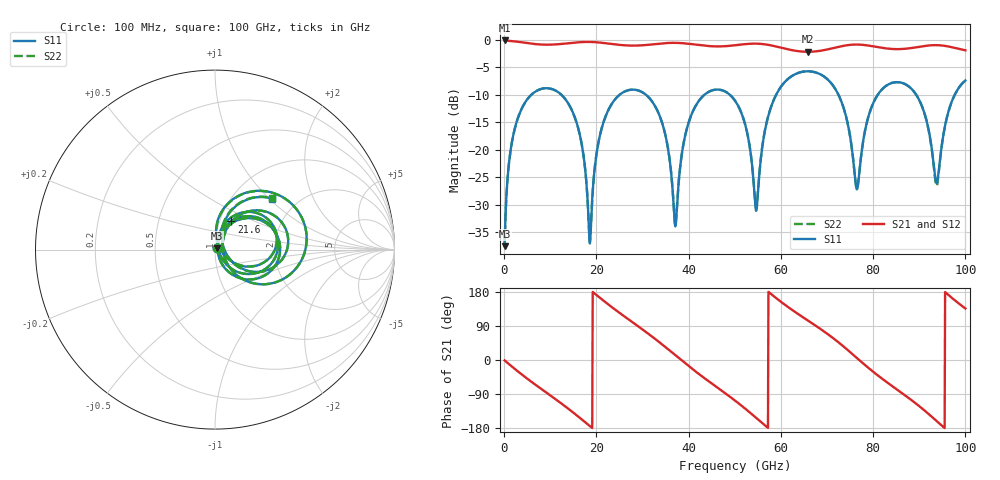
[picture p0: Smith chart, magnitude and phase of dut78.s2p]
! Touchstone file exported from HFSS 2026.1.0
!  File:  C:/ffzhzh/LocalFiles/Ansys_Project_Files/temp_train_TSV_RDL_78_1783628626_29156.aedt
!  Generated:  04:32:02 AM Jul 10, 2026
!  Design:  TSV_RDL
!  Project:  temp_train_TSV_RDL_78_1783628626_29156
! Variables:
!  h_bsmrdl = 4.17um
!  h_ox = 20um
!  h_rdl = 5um
!  h_sub = 95.19um
!  h_tmrdl = 4.6um
!  h_tsv = 95.19um
!  h_via = 3um
!  l_bsmrdl = 362.73um
!  l_sub = 2981.49um
!  l_tmrdl = 335.12um
!  m_sub = 200um
!  pitch = 42.84um
!  r_tsv = 6.83um
!  s_tmrdl = 10um
!  w_bsmrdl = 26.88um
!  w_sub = 500um
!  w_tmrdl = 24.06um
!  x_tsv_center1 = 347.15um
!  x_tsv_center2 = 736.76um
!  x_tsv_center3 = 1095.94um
!  x_tsv_center4 = 1485.55um
!  x_tsv_center5 = 1844.73um
!  x_tsv_center6 = 2234.34um
# GHz S MA R 50.000000
! Terminal data exported
! Port[1] = TM_RDL1_1_T1
! Port[2] = TM_RDL5_1_T1
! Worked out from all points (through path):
!   1000 points, 100 MHz to 100 GHz, reference 50 ohm
!   highest |S21| = -0.09 dB at 100 MHz (marker M1); lowest = -2.2 dB at 65.8 GHz (marker M2)
!   group delay of S21, straight-line fit = 26 ps
!   lowest |S11| = -37.6 dB at 100 MHz (marker M3), VSWR 1.03, Z = 51.1 + j0.809 ohm
!   |S11| at or under -10 dB: 12.42 GHz to 25.02 GHz (12.6 GHz wide, 67.3 % of centre); 30.76 GHz to 43.41 GHz (12.65 GHz wide, 34.1 % of centre); 48.94 GHz to 58.96 GHz (10.02 GHz wide, 18.6 % of centre) (the widest 3 of 6)
!   |S22| runs from -37.6 to -5.7 dB; largest |S21 - S12| = 2e-14
!   S11 on the Smith chart (normalised r, x): 100 MHz: 1.02, +0.02; 21.6 GHz: 1.14, +0.37; 100 GHz: 1.50, +1.05
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0.1  0.01321 36.8  0.9896 -1.1  0.9896 -1.1  0.01321 36.8
! Gamma 0 0 0 0
! Port Impedance 50 0 50 0
1.9  0.1308 63.6  0.9755 -19.5  0.9755 -19.5  0.1308 63.6
5.6  0.3077 31.3  0.9282 -54.7  0.9282 -54.7  0.3077 31.3
11.5  0.339 -18.5  0.9127 -106.6  0.9127 -106.6  0.339 -18.4
16.8  0.1132 -62.3  0.9563 -156.5  0.9563 -156.5  0.1132 -62.1
18.6  0.01396 7.1  0.959 -174.4  0.959 -174.4  0.01442 7.0
21.6  0.1812 60.0  0.9381 156.0  0.9381 156.0  0.1812 59.9
27.5  0.352 10.6  0.8887 102.5  0.8887 102.5  0.3519 10.7
33.4  0.2187 -38.3  0.923 49.3  0.923 49.3  0.2186 -38.2
37.1  0.02 7.8  0.9411 12.8  0.9411 12.8  0.0204 8.4
41.4  0.2456 55.7  0.9074 -29.3  0.9074 -29.3  0.2458 55.7
50.1  0.2777 -15.6  0.895 -107.5  0.895 -107.5  0.2779 -15.3
54.7  0.02791 34.0  0.9256 -153.3  0.9256 -153.3  0.02985 33.4
58.3  0.2744 73.4  0.8842 169.9  0.8842 169.9  0.2747 73.0
65.8  0.5181 14.1  0.7804 104.6  0.7804 104.6  0.5182 14.0
66.7  0.5148 7.4  0.7821 97.3  0.7821 97.3  0.515 7.3
72.9  0.2891 -40.7  0.8723 42.5  0.8723 42.5  0.2893 -40.7
76.5  0.0435 7.0  0.9082 5.0  0.9082 5.0  0.04425 6.9
83.4  0.3954 25.1  0.8322 -62.4  0.8322 -62.4  0.3954 24.9
90  0.2832 -25.6  0.8661 -121.8  0.8661 -121.8  0.2828 -26.1
93.8  0.04972 21.4  0.8968 -161.4  0.8968 -161.4  0.0469 21.8
100  0.4276 41.6  0.8047 135.9  0.8047 135.9  0.4275 42.0
